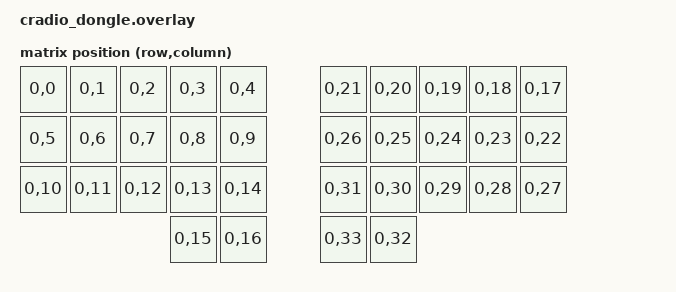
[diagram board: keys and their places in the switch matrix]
/*
 * SPDX-License-Identifier: MIT
 *
 * Keyless central for the cradio/sweep. The matrix transform and physical
 * layout match app/boards/shields/cradio/cradio.dtsi so keymap positions from
 * the halves line up with config/cradio.keymap. The right half adds
 * col-offset = <17> on its own copy; this central copy stays at offset 0.
 * The mock kscan is what a shield with no key matrix uses.
 */

#include <dt-bindings/zmk/matrix_transform.h>
#include <layouts/cuddlykeyboards/ferris.dtsi>

&cuddlykeyboards_ferris_layout {
    transform = <&default_transform>;
};

/ {
    chosen {
        zmk,kscan = &mock_kscan;
        zmk,physical-layout = &cuddlykeyboards_ferris_layout;
    };

    default_transform: keymap_transform_0 {
        compatible = "zmk,matrix-transform";
        columns = <34>;
        rows = <1>;
        map = <
        RC(0,0)  RC(0,1)  RC(0,2)  RC(0,3)  RC(0,4)    RC(0,21) RC(0,20) RC(0,19) RC(0,18) RC(0,17)
        RC(0,5)  RC(0,6)  RC(0,7)  RC(0,8)  RC(0,9)    RC(0,26) RC(0,25) RC(0,24) RC(0,23) RC(0,22)
        RC(0,10) RC(0,11) RC(0,12) RC(0,13) RC(0,14)   RC(0,31) RC(0,30) RC(0,29) RC(0,28) RC(0,27)
                                   RC(0,15) RC(0,16)   RC(0,33) RC(0,32)
        >;
    };

    mock_kscan: mock_kscan_0 {
        compatible = "zmk,kscan-mock";
        columns = <0>;
        rows = <0>;
        events = <0>;
    };
};
